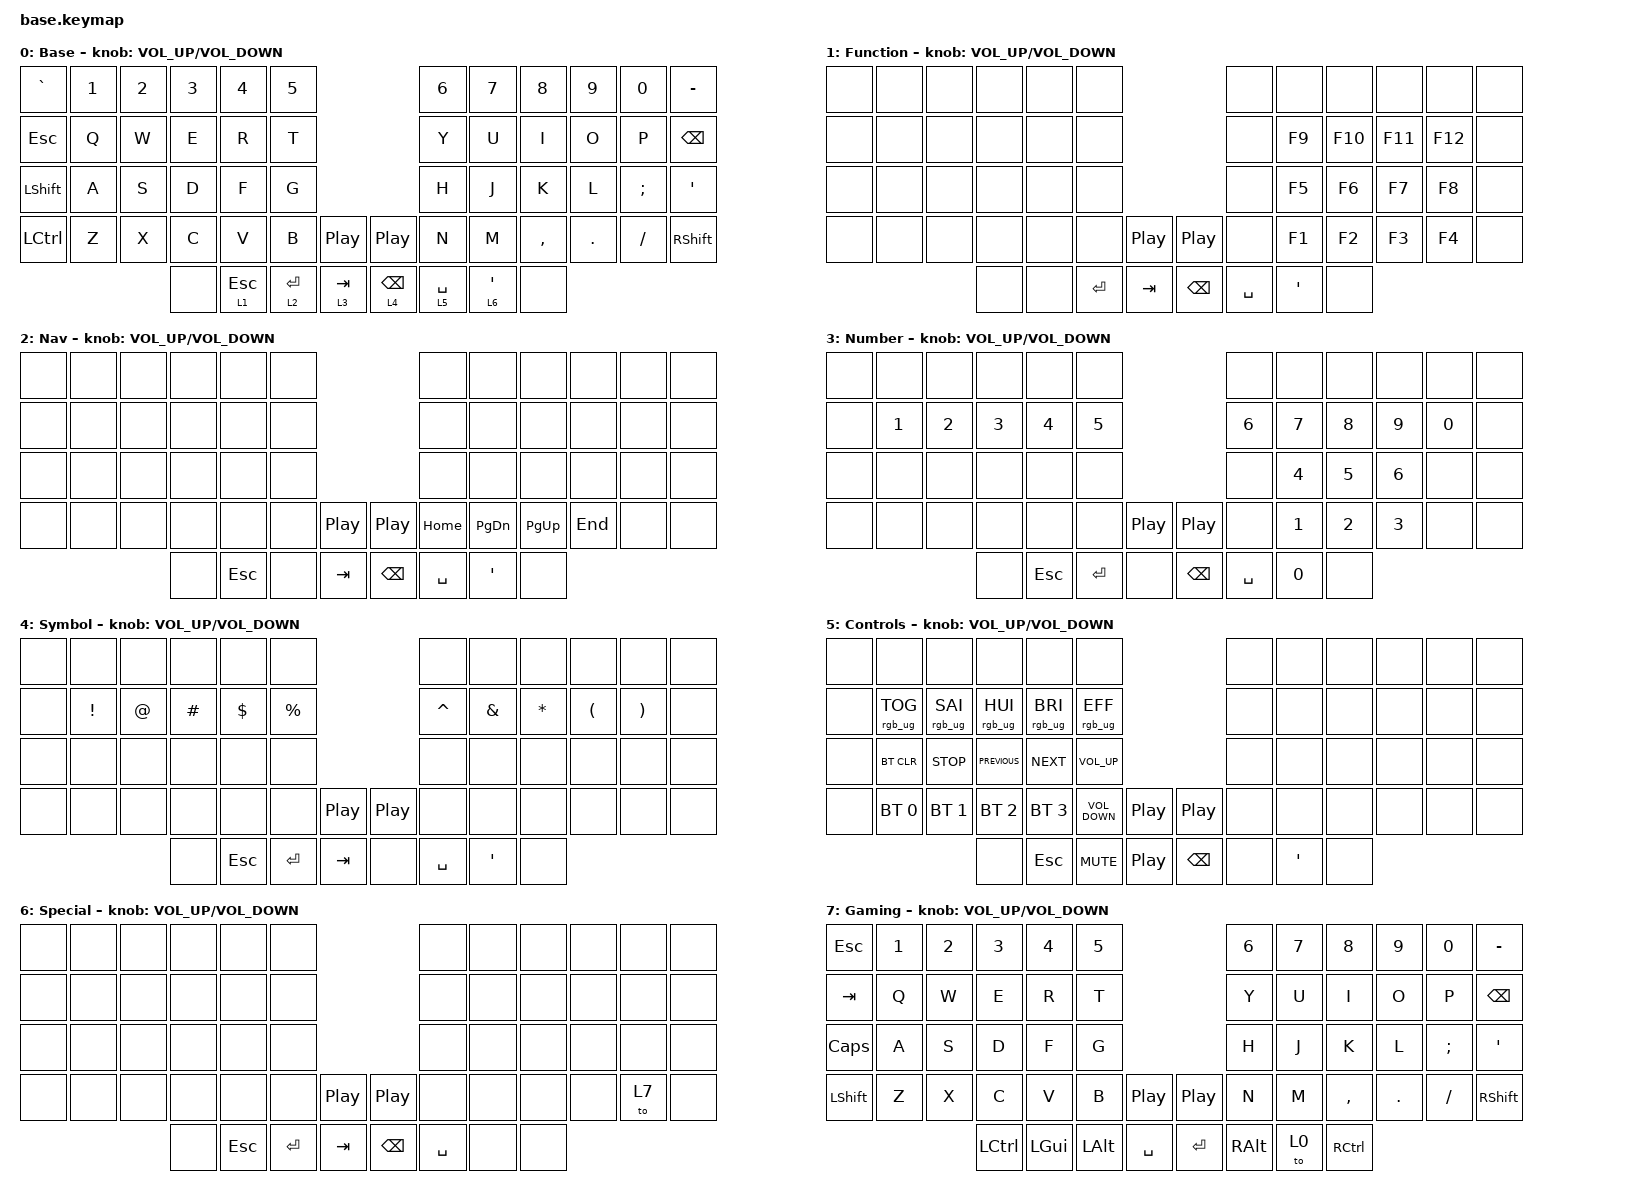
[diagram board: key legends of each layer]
#include <behaviors.dtsi>
#include <dt-bindings/zmk/bt.h>
#include <dt-bindings/zmk/keys.h>
#include <dt-bindings/zmk/rgb.h>

/ {
    keymap {
        compatible = "zmk,keymap";

        Base {
            display-name = "Base";
            bindings = <
&kp GRAVE         &kp N1  &kp N2  &kp N3  &kp N4        &kp N5                                             &kp N6       &kp N7              &kp N8     &kp N9      &kp N0         &kp MINUS
&kp ESCAPE        &kp Q   &kp W   &kp E   &kp R         &kp T                                              &kp Y        &kp U               &kp I      &kp O       &kp P          &kp BACKSPACE
&kp LEFT_SHIFT    &kp A   &kp S   &kp D   &kp F         &kp G                                              &kp H        &kp J               &kp K      &kp L       &kp SEMICOLON  &kp SINGLE_QUOTE
&kp LEFT_CONTROL  &kp Z   &kp X   &kp C   &kp V         &kp B        &kp C_PLAY_PAUSE    &kp C_PLAY_PAUSE  &kp N        &kp M               &kp COMMA  &kp PERIOD  &kp SLASH      &kp RIGHT_SHIFT
                                  &none   &lt 1 ESCAPE  &lt 2 ENTER  &lt 3 TAB           &lt 4 BACKSPACE   &lt 5 SPACE  &lt 6 SINGLE_QUOTE  &none
            >;

            sensor-bindings = <&inc_dec_kp C_VOLUME_UP C_VOLUME_DOWN>;
        };

        Function {
            display-name = "Function";
            bindings = <
&none  &none  &none  &none  &none  &none                                            &none      &none             &none    &none    &none    &none
&none  &none  &none  &none  &none  &none                                            &none      &kp F9            &kp F10  &kp F11  &kp F12  &none
&none  &none  &none  &none  &none  &none                                            &none      &kp F5            &kp F6   &kp F7   &kp F8   &none
&none  &none  &none  &none  &none  &none      &kp C_PLAY_PAUSE    &kp C_PLAY_PAUSE  &none      &kp F1            &kp F2   &kp F3   &kp F4   &none
                     &none  &none  &kp ENTER  &kp TAB             &kp BACKSPACE     &kp SPACE  &kp SINGLE_QUOTE  &none
            >;

            sensor-bindings = <&inc_dec_kp C_VOLUME_UP C_VOLUME_DOWN>;
        };

        Nav {
            display-name = "Nav";
            bindings = <
&none  &none  &none  &none  &none       &none                                        &none      &none             &none        &none    &none  &none
&none  &none  &none  &none  &none       &none                                        &none      &none             &none        &none    &none  &none
&none  &none  &none  &none  &none       &none                                        &none      &none             &none        &none    &none  &none
&none  &none  &none  &none  &none       &none  &kp C_PLAY_PAUSE    &kp C_PLAY_PAUSE  &kp HOME   &kp PAGE_DOWN     &kp PAGE_UP  &kp END  &none  &none
                     &none  &kp ESCAPE  &none  &kp TAB             &kp BACKSPACE     &kp SPACE  &kp SINGLE_QUOTE  &none
            >;

            sensor-bindings = <&inc_dec_kp C_VOLUME_UP C_VOLUME_DOWN>;
        };

        Number {
            display-name = "Number";
            bindings = <
&none  &none   &none   &none   &none       &none                                            &none      &none   &none   &none   &none   &none
&none  &kp N1  &kp N2  &kp N3  &kp N4      &kp N5                                           &kp N6     &kp N7  &kp N8  &kp N9  &kp N0  &none
&none  &none   &none   &none   &none       &none                                            &none      &kp N4  &kp N5  &kp N6  &none   &none
&none  &none   &none   &none   &none       &none      &kp C_PLAY_PAUSE    &kp C_PLAY_PAUSE  &none      &kp N1  &kp N2  &kp N3  &none   &none
                       &none   &kp ESCAPE  &kp ENTER  &none               &kp BACKSPACE     &kp SPACE  &kp N0  &none
            >;

            sensor-bindings = <&inc_dec_kp C_VOLUME_UP C_VOLUME_DOWN>;
        };

        Symbol {
            display-name = "Symbol";
            bindings = <
&none  &none     &none   &none     &none       &none                                            &none      &none             &none     &none     &none     &none
&none  &kp EXCL  &kp AT  &kp HASH  &kp DLLR    &kp PRCNT                                        &kp CARET  &kp AMPS          &kp STAR  &kp LPAR  &kp RPAR  &none
&none  &none     &none   &none     &none       &none                                            &none      &none             &none     &none     &none     &none
&none  &none     &none   &none     &none       &none      &kp C_PLAY_PAUSE    &kp C_PLAY_PAUSE  &none      &none             &none     &none     &none     &none
                         &none     &kp ESCAPE  &kp ENTER  &kp TAB             &none             &kp SPACE  &kp SINGLE_QUOTE  &none
            >;

            sensor-bindings = <&inc_dec_kp C_VOLUME_UP C_VOLUME_DOWN>;
        };

        Controls {
            display-name = "Controls";
            bindings = <
&none  &none            &none            &none            &none            &none                                                    &none  &none             &none  &none  &none  &none
&none  &rgb_ug RGB_TOG  &rgb_ug RGB_SAI  &rgb_ug RGB_HUI  &rgb_ug RGB_BRI  &rgb_ug RGB_EFF                                          &none  &none             &none  &none  &none  &none
&none  &bt BT_CLR       &kp C_STOP       &kp C_PREVIOUS   &kp C_NEXT       &kp C_VOLUME_UP                                          &none  &none             &none  &none  &none  &none
&none  &bt BT_SEL 0     &bt BT_SEL 1     &bt BT_SEL 2     &bt BT_SEL 3     &kp C_VOLUME_DOWN  &kp C_PLAY_PAUSE    &kp C_PLAY_PAUSE  &none  &none             &none  &none  &none  &none
                                         &none            &kp ESCAPE       &kp C_MUTE         &kp C_PLAY_PAUSE    &kp BACKSPACE     &none  &kp SINGLE_QUOTE  &none
            >;

            sensor-bindings = <&inc_dec_kp C_VOLUME_UP C_VOLUME_DOWN>;
        };

        Special {
            display-name = "Special";
            bindings = <
&none  &none  &none  &none  &none       &none                                            &none      &none  &none  &none  &none  &none
&none  &none  &none  &none  &none       &none                                            &none      &none  &none  &none  &none  &none
&none  &none  &none  &none  &none       &none                                            &none      &none  &none  &none  &none  &none
&none  &none  &none  &none  &none       &none      &kp C_PLAY_PAUSE    &kp C_PLAY_PAUSE  &none      &none  &none  &none  &to 7  &none
                     &none  &kp ESCAPE  &kp ENTER  &kp TAB             &kp BACKSPACE     &kp SPACE  &none  &none
            >;

            sensor-bindings = <&inc_dec_kp C_VOLUME_UP C_VOLUME_DOWN>;
        };

        Gaming {
            display-name = "Gaming";
            bindings = <
&kp ESC       &kp N1  &kp N2  &kp N3     &kp N4    &kp N5                                          &kp N6    &kp N7  &kp N8     &kp N9   &kp N0    &kp MINUS
&kp TAB       &kp Q   &kp W   &kp E      &kp R     &kp T                                           &kp Y     &kp U   &kp I      &kp O    &kp P     &kp BSPC
&kp CAPSLOCK  &kp A   &kp S   &kp D      &kp F     &kp G                                           &kp H     &kp J   &kp K      &kp L    &kp SEMI  &kp SQT
&kp LSHFT     &kp Z   &kp X   &kp C      &kp V     &kp B     &kp C_PLAY_PAUSE    &kp C_PLAY_PAUSE  &kp N     &kp M   &kp COMMA  &kp DOT  &kp FSLH  &kp RSHFT
                              &kp LCTRL  &kp LGUI  &kp LALT  &kp SPACE           &kp RET           &kp RALT  &to 0   &kp RCTRL
            >;

            sensor-bindings = <&inc_dec_kp C_VOLUME_UP C_VOLUME_DOWN>;
        };
    };
};

